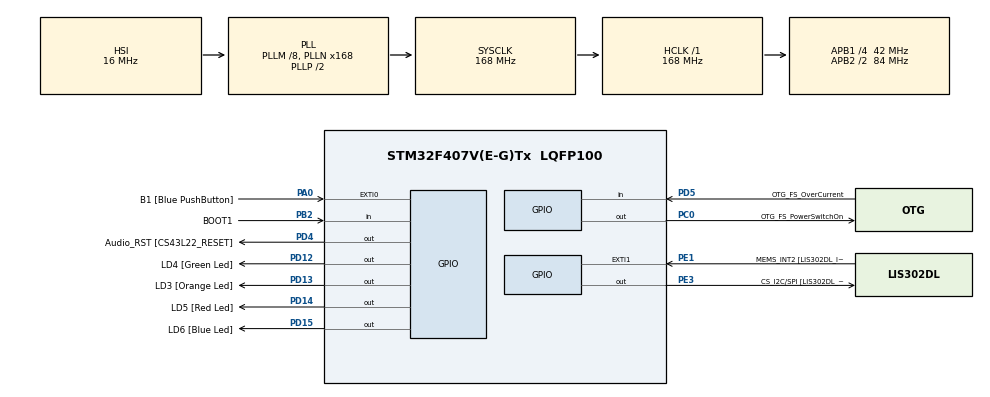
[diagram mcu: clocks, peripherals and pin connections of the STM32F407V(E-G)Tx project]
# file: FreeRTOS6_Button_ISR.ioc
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Mcu.Family=STM32F4
Mcu.Name=STM32F407V(E-G)Tx
Mcu.Package=LQFP100
NVIC.EXTI0_IRQn=true\:6\:0\:true\:false\:true\:true\:true\:true
NVIC.PriorityGroup=NVIC_PRIORITYGROUP_4
NVIC.TIM6_DAC_IRQn=true\:15\:0\:false\:false\:true\:false\:true\:true
NVIC.TimeBase=TIM6_DAC_IRQn
NVIC.TimeBaseIP=TIM6
PA0-WKUP.GPIO_Label=B1 [Blue PushButton]
PA0-WKUP.GPIO_ModeDefaultEXTI=GPIO_MODE_IT_FALLING
PA0-WKUP.Signal=GPXTI0
PA10.GPIO_Label=OTG_FS_ID
PA10.GPIO_Mode=GPIO_MODE_AF_PP
PA10.GPIO_PuPd=GPIO_NOPULL
PA10.GPIO_Speed=GPIO_SPEED_FREQ_LOW
PA10.Signal=USB_OTG_FS_ID
PA11.GPIO_Label=OTG_FS_DM
PA11.GPIO_Mode=GPIO_MODE_AF_PP
PA11.GPIO_PuPd=GPIO_NOPULL
PA11.GPIO_Speed=GPIO_SPEED_FREQ_LOW
PA11.Signal=USB_OTG_FS_DM
PA12.GPIO_Label=OTG_FS_DP
PA12.GPIO_Mode=GPIO_MODE_AF_PP
PA12.GPIO_PuPd=GPIO_NOPULL
PA12.GPIO_Speed=GPIO_SPEED_FREQ_LOW
PA12.Signal=USB_OTG_FS_DP
PA13.GPIO_Label=SWDIO
PA13.Signal=SYS_JTMS-SWDIO
PA14.GPIO_Label=SWCLK
PA14.Signal=SYS_JTCK-SWCLK
PA4.GPIO_Label=I2S3_WS [CS43L22_LRCK]
PA4.GPIO_Mode=GPIO_MODE_AF_PP
PA4.GPIO_PuPd=GPIO_NOPULL
PA4.GPIO_Speed=GPIO_SPEED_FREQ_LOW
PA4.Signal=I2S3_WS
PA5.GPIO_Label=SPI1_SCK [LIS302DL_SCL/SPC]
PA5.GPIO_Mode=GPIO_MODE_AF_PP
PA5.GPIO_PuPd=GPIO_NOPULL
PA5.GPIO_Speed=GPIO_SPEED_FREQ_LOW
PA5.Signal=SPI1_SCK
PA6.GPIO_Label=SPI1_MISO [LIS302DL_SDO]
PA6.GPIO_Mode=GPIO_MODE_AF_PP
PA6.GPIO_PuPd=GPIO_NOPULL
PA6.GPIO_Speed=GPIO_SPEED_FREQ_LOW
PA6.Signal=SPI1_MISO
PA7.GPIO_Label=SPI1_MOSI [LIS302DL_SDA/SDI/SDO]
PA7.GPIO_Mode=GPIO_MODE_AF_PP
PA7.GPIO_PuPd=GPIO_NOPULL
PA7.GPIO_Speed=GPIO_SPEED_FREQ_LOW
PA7.Signal=SPI1_MOSI
PA9.GPIO_Label=VBUS_FS
PA9.GPIO_Mode=GPIO_MODE_INPUT
PA9.GPIO_PuPd=GPIO_NOPULL
PA9.Signal=USB_OTG_FS_VBUS
PB10.GPIO_Label=CLK_IN [MP45DT02_CLK]
PB10.GPIO_Mode=GPIO_MODE_AF_PP
PB10.GPIO_PuPd=GPIO_NOPULL
PB10.GPIO_Speed=GPIO_SPEED_FREQ_LOW
PB10.Signal=I2S2_CK
PB2.GPIO_Label=BOOT1
PB2.GPIO_Mode=GPIO_MODE_INPUT
PB2.GPIO_PuPd=GPIO_NOPULL
PB2.Signal=GPIO_Input
PB3.GPIO_Label=SWO
PB3.Signal=SYS_JTDO-SWO
PB6.GPIO_Label=Audio_SCL [CS43L22_SCL]
PB6.GPIO_Mode=GPIO_MODE_AF_OD
PB6.GPIO_PuPd=GPIO_NOPULL
PB6.GPIO_Speed=GPIO_SPEED_FREQ_LOW
PB6.Signal=I2C1_SCL
PB9.GPIO_Label=Audio_SDA [CS43L22_SDA]
PB9.GPIO_Mode=GPIO_MODE_AF_OD
PB9.GPIO_PuPd=GPIO_NOPULL
PB9.GPIO_Speed=GPIO_SPEED_FREQ_LOW
PB9.Signal=I2C1_SDA
PC0.GPIO_Label=OTG_FS_PowerSwitchOn
PC0.GPIO_PuPd=GPIO_NOPULL
PC0.GPIO_Speed=GPIO_SPEED_FREQ_LOW
PC0.PinState=GPIO_PIN_SET
PC0.Signal=GPIO_Output
PC10.GPIO_Label=I2S3_SCK [CS43L22_SCLK]
PC10.GPIO_Mode=GPIO_MODE_AF_PP
PC10.GPIO_PuPd=GPIO_NOPULL
PC10.GPIO_Speed=GPIO_SPEED_FREQ_LOW
PC10.Signal=I2S3_CK
PC12.GPIO_Label=I2S3_SD [CS43L22_SDIN]
PC12.GPIO_Mode=GPIO_MODE_AF_PP
PC12.GPIO_PuPd=GPIO_NOPULL
PC12.GPIO_Speed=GPIO_SPEED_FREQ_LOW
PC12.Signal=I2S3_SD
PC14-OSC32_IN.GPIO_Label=PC14-OSC32_IN
PC14-OSC32_IN.Signal=RCC_OSC32_IN
PC15-OSC32_OUT.GPIO_Label=PC15-OSC32_OUT
PC15-OSC32_OUT.Signal=RCC_OSC32_OUT
PC3.GPIO_Label=PDM_OUT [MP45DT02_DOUT]
PC3.GPIO_Mode=GPIO_MODE_AF_PP
PC3.GPIO_PuPd=GPIO_NOPULL
PC3.GPIO_Speed=GPIO_SPEED_FREQ_LOW
PC3.Signal=I2S2_SD
PC7.GPIO_Label=I2S3_MCK [CS43L22_MCLK]
PC7.GPIO_Mode=GPIO_MODE_AF_PP
PC7.GPIO_PuPd=GPIO_NOPULL
PC7.GPIO_Speed=GPIO_SPEED_FREQ_LOW
PC7.Signal=I2S3_MCK
PD12.GPIO_Label=LD4 [Green Led]
PD12.GPIO_PuPd=GPIO_NOPULL
PD12.GPIO_Speed=GPIO_SPEED_FREQ_LOW
PD12.Signal=GPIO_Output
PD13.GPIO_Label=LD3 [Orange Led]
PD13.GPIO_PuPd=GPIO_NOPULL
PD13.GPIO_Speed=GPIO_SPEED_FREQ_LOW
PD13.Signal=GPIO_Output
PD14.GPIO_Label=LD5 [Red Led]
PD14.GPIO_PuPd=GPIO_NOPULL
PD14.GPIO_Speed=GPIO_SPEED_FREQ_LOW
PD14.Signal=GPIO_Output
PD15.GPIO_Label=LD6 [Blue Led]
PD15.GPIO_PuPd=GPIO_NOPULL
PD15.GPIO_Speed=GPIO_SPEED_FREQ_LOW
PD15.Signal=GPIO_Output
PD4.GPIO_Label=Audio_RST [CS43L22_RESET]
PD4.GPIO_PuPd=GPIO_NOPULL
PD4.GPIO_Speed=GPIO_SPEED_FREQ_LOW
PD4.Signal=GPIO_Output
PD5.GPIO_Label=OTG_FS_OverCurrent
PD5.GPIO_Mode=GPIO_MODE_INPUT
PD5.GPIO_PuPd=GPIO_NOPULL
PD5.Signal=GPIO_Input
PE1.GPIO_Label=MEMS_INT2 [LIS302DL_INT2]
PE1.GPIO_ModeDefaultEXTI=GPIO_MODE_EVT_RISING
PE1.GPIO_PuPd=GPIO_NOPULL
PE1.Signal=GPXTI1
PE3.GPIO_Label=CS_I2C/SPI [LIS302DL_CS_I2C/SPI]
PE3.GPIO_PuPd=GPIO_NOPULL
PE3.GPIO_Speed=GPIO_SPEED_FREQ_LOW
PE3.Signal=GPIO_Output
PH0-OSC_IN.GPIO_Label=PH0-OSC_IN
PH0-OSC_IN.Signal=RCC_OSC_IN
PH1-OSC_OUT.GPIO_Label=PH1-OSC_OUT
PH1-OSC_OUT.Signal=RCC_OSC_OUT
ProjectManager.HeapSize=0x200
ProjectManager.StackSize=0x400
ProjectManager.TargetToolchain=STM32CubeIDE
RCC.48MHZClocksFreq_Value=48000000
RCC.AHBFreq_Value=168000000
RCC.APB1CLKDivider=RCC_HCLK_DIV4
RCC.APB1Freq_Value=42000000
RCC.APB1TimFreq_Value=84000000
RCC.APB2CLKDivider=RCC_HCLK_DIV2
RCC.APB2Freq_Value=84000000
RCC.APB2TimFreq_Value=168000000
RCC.CortexFreq_Value=168000000
RCC.HCLKFreq_Value=168000000
RCC.HSE_VALUE=8000000
RCC.HSI_VALUE=16000000
RCC.LSE_VALUE=32768
RCC.PLLM=8
RCC.PLLN=168
RCC.PLLQ=7
RCC.SYSCLKFreq_VALUE=168000000
RCC.SYSCLKSource=RCC_SYSCLKSOURCE_PLLCLK
RCC.VCOOutputFreq_Value=336000000
VP_SYS_VS_tim6.Mode=TIM6
board=STM32F407G-DISC1

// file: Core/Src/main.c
/* USER CODE BEGIN Header */
/**
  ******************************************************************************
  * @file           : main.c
  * @brief          : Main program body
  ******************************************************************************
  * @attention
  *
  * Copyright (c) 2026 STMicroelectronics.
  * All rights reserved.
  *
  * This software is licensed under terms that can be found in the LICENSE file
  * in the root directory of this software component.
  * If no LICENSE file comes with this software, it is provided AS-IS.
  *
  ******************************************************************************
  */
/* USER CODE END Header */
#include "main.h"

/* USER CODE BEGIN Includes */

#include <stdio.h>
#include "FreeRTOS.h"
#include "task.h"

/* USER CODE END Includes */

/* USER CODE BEGIN PV */

#define DWT_CTRL	(*(volatile uint32_t*)0xE0001000)

/* USER CODE END PV */

void SystemClock_Config(void);
static void MX_GPIO_Init(void);
/* USER CODE BEGIN PFP */

static void led_green_handler(void* parameters);
static void led_orange_handler(void* parameters);
static void led_red_handler(void* parameters);

TaskHandle_t ledg_task_handle;
TaskHandle_t ledo_task_handle;
TaskHandle_t ledr_task_handle;

TaskHandle_t volatile next_task_handle;

/* USER CODE END PFP */

int main(void)
{

  /* USER CODE BEGIN 1 */

	BaseType_t status;

  /* USER CODE END 1 */

  /* MCU Configuration--------------------------------------------------------*/

  /* Reset of all peripherals, Initializes the Flash interface and the Systick. */
  HAL_Init();

  /* Configure the system clock */
  SystemClock_Config();

  /* Initialize all configured peripherals */
  MX_GPIO_Init();
  /* USER CODE BEGIN 2 */
  DWT_CTRL |= (1 << 0);

  SEGGER_SYSVIEW_Conf();

  SEGGER_SYSVIEW_Start();

  status = xTaskCreate(led_green_handler, "LED_green_task", 200, NULL, 3, &ledg_task_handle);

  configASSERT(status == pdPASS);

  next_task_handle = ledg_task_handle;

  status = xTaskCreate(led_red_handler, "LED_red_task", 200, NULL, 2, &ledr_task_handle);

  configASSERT(status == pdPASS);

  status = xTaskCreate(led_orange_handler, "LED_orange_task", 200, NULL, 1, &ledo_task_handle);

  configASSERT(status == pdPASS);

  //Start the FreeRTOS Scheduler

  vTaskStartScheduler();

  /* USER CODE END 2 */

  /* Infinite loop */
  while (1)
  {

  }
}

void SystemClock_Config(void)
{
  RCC_OscInitTypeDef RCC_OscInitStruct = {0};
  RCC_ClkInitTypeDef RCC_ClkInitStruct = {0};

  /** Configure the main internal regulator output voltage
  */
  __HAL_RCC_PWR_CLK_ENABLE();
  __HAL_PWR_VOLTAGESCALING_CONFIG(PWR_REGULATOR_VOLTAGE_SCALE1);

  /** Initializes the RCC Oscillators according to the specified parameters
  * in the RCC_OscInitTypeDef structure.
  */
  RCC_OscInitStruct.OscillatorType = RCC_OSCILLATORTYPE_HSI;
  RCC_OscInitStruct.HSIState = RCC_HSI_ON;
  RCC_OscInitStruct.HSICalibrationValue = RCC_HSICALIBRATION_DEFAULT;
  RCC_OscInitStruct.PLL.PLLState = RCC_PLL_ON;
  RCC_OscInitStruct.PLL.PLLSource = RCC_PLLSOURCE_HSI;
  RCC_OscInitStruct.PLL.PLLM = 8;
  RCC_OscInitStruct.PLL.PLLN = 168;
  RCC_OscInitStruct.PLL.PLLP = RCC_PLLP_DIV2;
  RCC_OscInitStruct.PLL.PLLQ = 7;
  if (HAL_RCC_OscConfig(&RCC_OscInitStruct) != HAL_OK)
  {
    Error_Handler();
  }

  /** Initializes the CPU, AHB and APB buses clocks
  */
  RCC_ClkInitStruct.ClockType = RCC_CLOCKTYPE_HCLK|RCC_CLOCKTYPE_SYSCLK
                              |RCC_CLOCKTYPE_PCLK1|RCC_CLOCKTYPE_PCLK2;
  RCC_ClkInitStruct.SYSCLKSource = RCC_SYSCLKSOURCE_PLLCLK;
  RCC_ClkInitStruct.AHBCLKDivider = RCC_SYSCLK_DIV1;
  RCC_ClkInitStruct.APB1CLKDivider = RCC_HCLK_DIV4;
  RCC_ClkInitStruct.APB2CLKDivider = RCC_HCLK_DIV2;

  if (HAL_RCC_ClockConfig(&RCC_ClkInitStruct, FLASH_LATENCY_5) != HAL_OK)
  {
    Error_Handler();
  }
}

static void MX_GPIO_Init(void)
{
  GPIO_InitTypeDef GPIO_InitStruct = {0};

  /* GPIO Ports Clock Enable */
  __HAL_RCC_GPIOE_CLK_ENABLE();
  __HAL_RCC_GPIOC_CLK_ENABLE();
  __HAL_RCC_GPIOH_CLK_ENABLE();
  __HAL_RCC_GPIOA_CLK_ENABLE();
  __HAL_RCC_GPIOB_CLK_ENABLE();
  __HAL_RCC_GPIOD_CLK_ENABLE();

  /*Configure GPIO pin Output Level */
  HAL_GPIO_WritePin(CS_I2C_SPI_GPIO_Port, CS_I2C_SPI_Pin, GPIO_PIN_RESET);

  /*Configure GPIO pin Output Level */
  HAL_GPIO_WritePin(OTG_FS_PowerSwitchOn_GPIO_Port, OTG_FS_PowerSwitchOn_Pin, GPIO_PIN_SET);

  /*Configure GPIO pin Output Level */
  HAL_GPIO_WritePin(GPIOD, LD4_Pin|LD3_Pin|LD5_Pin|LD6_Pin
                          |Audio_RST_Pin, GPIO_PIN_RESET);

  /*Configure GPIO pin : CS_I2C_SPI_Pin */
  GPIO_InitStruct.Pin = CS_I2C_SPI_Pin;
  GPIO_InitStruct.Mode = GPIO_MODE_OUTPUT_PP;
  GPIO_InitStruct.Pull = GPIO_NOPULL;
  GPIO_InitStruct.Speed = GPIO_SPEED_FREQ_LOW;
  HAL_GPIO_Init(CS_I2C_SPI_GPIO_Port, &GPIO_InitStruct);

  /*Configure GPIO pin : OTG_FS_PowerSwitchOn_Pin */
  GPIO_InitStruct.Pin = OTG_FS_PowerSwitchOn_Pin;
  GPIO_InitStruct.Mode = GPIO_MODE_OUTPUT_PP;
  GPIO_InitStruct.Pull = GPIO_NOPULL;
  GPIO_InitStruct.Speed = GPIO_SPEED_FREQ_LOW;
  HAL_GPIO_Init(OTG_FS_PowerSwitchOn_GPIO_Port, &GPIO_InitStruct);

  /*Configure GPIO pin : PDM_OUT_Pin */
  GPIO_InitStruct.Pin = PDM_OUT_Pin;
  GPIO_InitStruct.Mode = GPIO_MODE_AF_PP;
  GPIO_InitStruct.Pull = GPIO_NOPULL;
  GPIO_InitStruct.Speed = GPIO_SPEED_FREQ_LOW;
  GPIO_InitStruct.Alternate = GPIO_AF5_SPI2;
  HAL_GPIO_Init(PDM_OUT_GPIO_Port, &GPIO_InitStruct);

  /*Configure GPIO pin : B1_Pin */
  GPIO_InitStruct.Pin = B1_Pin;
  GPIO_InitStruct.Mode = GPIO_MODE_IT_FALLING;
  GPIO_InitStruct.Pull = GPIO_NOPULL;
  HAL_GPIO_Init(B1_GPIO_Port, &GPIO_InitStruct);

  /*Configure GPIO pin : I2S3_WS_Pin */
  GPIO_InitStruct.Pin = I2S3_WS_Pin;
  GPIO_InitStruct.Mode = GPIO_MODE_AF_PP;
  GPIO_InitStruct.Pull = GPIO_NOPULL;
  GPIO_InitStruct.Speed = GPIO_SPEED_FREQ_LOW;
  GPIO_InitStruct.Alternate = GPIO_AF6_SPI3;
  HAL_GPIO_Init(I2S3_WS_GPIO_Port, &GPIO_InitStruct);

  /*Configure GPIO pins : SPI1_SCK_Pin SPI1_MISO_Pin SPI1_MOSI_Pin */
  GPIO_InitStruct.Pin = SPI1_SCK_Pin|SPI1_MISO_Pin|SPI1_MOSI_Pin;
  GPIO_InitStruct.Mode = GPIO_MODE_AF_PP;
  GPIO_InitStruct.Pull = GPIO_NOPULL;
  GPIO_InitStruct.Speed = GPIO_SPEED_FREQ_LOW;
  GPIO_InitStruct.Alternate = GPIO_AF5_SPI1;
  HAL_GPIO_Init(GPIOA, &GPIO_InitStruct);

  /*Configure GPIO pin : BOOT1_Pin */
  GPIO_InitStruct.Pin = BOOT1_Pin;
  GPIO_InitStruct.Mode = GPIO_MODE_INPUT;
  GPIO_InitStruct.Pull = GPIO_NOPULL;
  HAL_GPIO_Init(BOOT1_GPIO_Port, &GPIO_InitStruct);

  /*Configure GPIO pin : CLK_IN_Pin */
  GPIO_InitStruct.Pin = CLK_IN_Pin;
  GPIO_InitStruct.Mode = GPIO_MODE_AF_PP;
  GPIO_InitStruct.Pull = GPIO_NOPULL;
  GPIO_InitStruct.Speed = GPIO_SPEED_FREQ_LOW;
  GPIO_InitStruct.Alternate = GPIO_AF5_SPI2;
  HAL_GPIO_Init(CLK_IN_GPIO_Port, &GPIO_InitStruct);

  /*Configure GPIO pins : LD4_Pin LD3_Pin LD5_Pin LD6_Pin
                           Audio_RST_Pin */
  GPIO_InitStruct.Pin = LD4_Pin|LD3_Pin|LD5_Pin|LD6_Pin
                          |Audio_RST_Pin;
  GPIO_InitStruct.Mode = GPIO_MODE_OUTPUT_PP;
  GPIO_InitStruct.Pull = GPIO_NOPULL;
  GPIO_InitStruct.Speed = GPIO_SPEED_FREQ_LOW;
  HAL_GPIO_Init(GPIOD, &GPIO_InitStruct);

  /*Configure GPIO pins : I2S3_MCK_Pin I2S3_SCK_Pin I2S3_SD_Pin */
  GPIO_InitStruct.Pin = I2S3_MCK_Pin|I2S3_SCK_Pin|I2S3_SD_Pin;
  GPIO_InitStruct.Mode = GPIO_MODE_AF_PP;
  GPIO_InitStruct.Pull = GPIO_NOPULL;
  GPIO_InitStruct.Speed = GPIO_SPEED_FREQ_LOW;
  GPIO_InitStruct.Alternate = GPIO_AF6_SPI3;
  HAL_GPIO_Init(GPIOC, &GPIO_InitStruct);

  /*Configure GPIO pin : VBUS_FS_Pin */
  GPIO_InitStruct.Pin = VBUS_FS_Pin;
  GPIO_InitStruct.Mode = GPIO_MODE_INPUT;
  GPIO_InitStruct.Pull = GPIO_NOPULL;
  HAL_GPIO_Init(VBUS_FS_GPIO_Port, &GPIO_InitStruct);

  /*Configure GPIO pins : OTG_FS_ID_Pin OTG_FS_DM_Pin OTG_FS_DP_Pin */
  GPIO_InitStruct.Pin = OTG_FS_ID_Pin|OTG_FS_DM_Pin|OTG_FS_DP_Pin;
  GPIO_InitStruct.Mode = GPIO_MODE_AF_PP;
  GPIO_InitStruct.Pull = GPIO_NOPULL;
  GPIO_InitStruct.Speed = GPIO_SPEED_FREQ_LOW;
  GPIO_InitStruct.Alternate = GPIO_AF10_OTG_FS;
  HAL_GPIO_Init(GPIOA, &GPIO_InitStruct);

  /*Configure GPIO pin : OTG_FS_OverCurrent_Pin */
  GPIO_InitStruct.Pin = OTG_FS_OverCurrent_Pin;
  GPIO_InitStruct.Mode = GPIO_MODE_INPUT;
  GPIO_InitStruct.Pull = GPIO_NOPULL;
  HAL_GPIO_Init(OTG_FS_OverCurrent_GPIO_Port, &GPIO_InitStruct);

  /*Configure GPIO pins : Audio_SCL_Pin Audio_SDA_Pin */
  GPIO_InitStruct.Pin = Audio_SCL_Pin|Audio_SDA_Pin;
  GPIO_InitStruct.Mode = GPIO_MODE_AF_OD;
  GPIO_InitStruct.Pull = GPIO_NOPULL;
  GPIO_InitStruct.Speed = GPIO_SPEED_FREQ_LOW;
  GPIO_InitStruct.Alternate = GPIO_AF4_I2C1;
  HAL_GPIO_Init(GPIOB, &GPIO_InitStruct);

  /*Configure GPIO pin : MEMS_INT2_Pin */
  GPIO_InitStruct.Pin = MEMS_INT2_Pin;
  GPIO_InitStruct.Mode = GPIO_MODE_EVT_RISING;
  GPIO_InitStruct.Pull = GPIO_NOPULL;
  HAL_GPIO_Init(MEMS_INT2_GPIO_Port, &GPIO_InitStruct);

  /* EXTI interrupt init*/
  HAL_NVIC_SetPriority(EXTI0_IRQn, 6, 0);
  HAL_NVIC_EnableIRQ(EXTI0_IRQn);

}

/* USER CODE BEGIN 4 */

void button_interrupt_handler(void)
{
	traceISR_ENTER();
	xTaskNotifyFromISR(next_task_handle,0,eNoAction,NULL);
	traceISR_EXIT();
}

static void led_green_handler(void* parameters)
{
	BaseType_t status;
	while(1)
	{

		HAL_GPIO_TogglePin(GPIOD, LED_GREEN_PIN);
		status = xTaskNotifyWait(0, 0, NULL, pdMS_TO_TICKS(1000));
		if(status == pdTRUE)
		{
			portENTER_CRITICAL();
			next_task_handle = ledo_task_handle;
			HAL_GPIO_WritePin(GPIOD, LED_GREEN_PIN, GPIO_PIN_SET);
			portEXIT_CRITICAL();
			vTaskDelete(NULL);
		}
}
}

static void led_orange_handler(void* parameters)
{
	BaseType_t status;
	while(1)
	{
		HAL_GPIO_TogglePin(GPIOD, LED_ORANGE_PIN);
		status = xTaskNotifyWait(0, 0, NULL, pdMS_TO_TICKS(800));
				if(status == pdTRUE)
				{
					portENTER_CRITICAL();
					next_task_handle = ledr_task_handle;
					HAL_GPIO_WritePin(GPIOD, LED_ORANGE_PIN, GPIO_PIN_SET);
					portEXIT_CRITICAL();
					vTaskDelete(NULL);
				}
	}
}

static void led_red_handler(void* parameters)
{
	BaseType_t status;
	while(1)
	{
		HAL_GPIO_TogglePin(GPIOD, LED_RED_PIN);
		status = xTaskNotifyWait(0, 0, NULL, pdMS_TO_TICKS(400));
				if(status == pdTRUE)
				{
					portENTER_CRITICAL();
					next_task_handle = NULL;
					HAL_GPIO_WritePin(GPIOD, LED_RED_PIN, GPIO_PIN_SET);
					portEXIT_CRITICAL();
					vTaskDelete(NULL);

				}
	}
}

/* USER CODE END 4 */

void HAL_TIM_PeriodElapsedCallback(TIM_HandleTypeDef *htim)
{
  if (htim->Instance == TIM6)
  {
    HAL_IncTick();
  }
}

void Error_Handler(void)
{
  __disable_irq();
  while (1)
  {
  }
}
